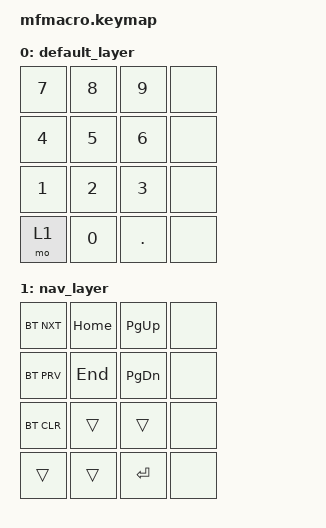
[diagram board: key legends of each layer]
/*
 * Copyright (c) 2020 The ZMK Contributors
 *
 * SPDX-License-Identifier: MIT
 */

#include <dt-bindings/zmk/bt.h>
#include <dt-bindings/zmk/keys.h>



/ {
    keymap {
        compatible = "zmk,keymap";

        default_layer {
// -------------------
// | 7      |  8  |  9  |     |
// | 4      |  5  |  6  |     |
// | 1      |  2  |  3  |     |
// | MO(1)  |  0  |  .  |     |
// ----------------------
            bindings = <
    &kp N7 &kp N8 &kp N9 &none
    &kp N4 &kp N5 &kp N6 &none
    &kp N1 &kp N2 &kp N3 &none
    &mo 1  &kp N0 &kp DOT &none
            >;
        };

        nav_layer {
// -----------------------
// | BTNXT |  HOME  |  PGUP  |     |
// | BTPRV |  END   |  PGDN  |     |
// | BTCLR |  _     |  _     |     |
// | _     |  _     |  RET   |     |
// -----------------------
            bindings = <
    &bt BT_NXT &kp HOME &kp PG_UP &none
    &bt BT_PRV &kp END  &kp PG_DN &none
    &bt BT_CLR &trans   &trans &none
    &trans     &trans   &kp RET &none
            >;
        };
    };
};
